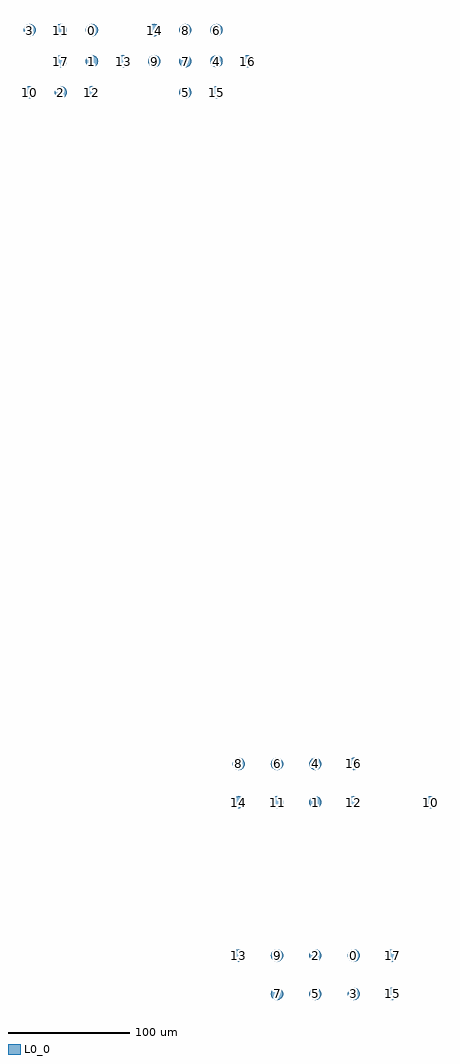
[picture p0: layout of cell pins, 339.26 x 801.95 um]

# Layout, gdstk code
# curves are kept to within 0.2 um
import gdstk
lib = gdstk.Library(unit=1e-6, precision=1e-09)
def P(c, l, *ps):  # polygons
    for p in ps: c.add(gdstk.Polygon(p, *l))
L0_0 = (0, 0)

pins = lib.new_cell('pins')
P(pins, L0_0, [(2419.54,2321.02),(2419.159,2322.933),(2418.075,2324.555),(2416.453,2325.639),(2414.54,2326.02),(2412.626,2325.639),(2411.004,2324.555),(2409.92,2322.933),(2409.54,2321.02),(2409.92,2319.106),(2411.004,2317.484),(2412.626,2316.4),(2414.54,2316.02),(2416.453,2316.4),(2418.075,2317.484),(2419.159,2319.106)],
  [(2634.63,1560.57),(2634.249,1562.483),(2633.165,1564.105),(2631.543,1565.189),(2629.63,1565.57),(2627.716,1565.189),(2626.094,1564.105),(2625.01,1562.483),(2624.63,1560.57),(2625.01,1558.656),(2626.094,1557.034),(2627.716,1555.95),(2629.63,1555.57),(2631.543,1555.95),(2633.165,1557.034),(2634.249,1558.656)],
  [(2419.54,2295.43),(2419.159,2297.343),(2418.075,2298.965),(2416.453,2300.049),(2414.54,2300.43),(2412.626,2300.049),(2411.004,2298.965),(2409.92,2297.343),(2409.54,2295.43),(2409.92,2293.516),(2411.004,2291.894),(2412.626,2290.81),(2414.54,2290.43),(2416.453,2290.81),(2418.075,2291.894),(2419.159,2293.516)],
  [(2603.13,1686.55),(2602.749,1688.463),(2601.665,1690.085),(2600.043,1691.169),(2598.13,1691.55),(2596.216,1691.169),(2594.594,1690.085),(2593.51,1688.463),(2593.13,1686.55),(2593.51,1684.636),(2594.594,1683.014),(2596.216,1681.93),(2598.13,1681.55),(2600.043,1681.93),(2601.665,1683.014),(2602.749,1684.636)],
  [(2393.95,2269.84),(2393.569,2271.753),(2392.485,2273.375),(2390.863,2274.459),(2388.95,2274.84),(2387.036,2274.459),(2385.414,2273.375),(2384.33,2271.753),(2383.95,2269.84),(2384.33,2267.926),(2385.414,2266.304),(2387.036,2265.22),(2388.95,2264.84),(2390.863,2265.22),(2392.485,2266.304),(2393.569,2267.926)],
  [(2603.13,1560.57),(2602.749,1562.483),(2601.665,1564.105),(2600.043,1565.189),(2598.13,1565.57),(2596.216,1565.189),(2594.594,1564.105),(2593.51,1562.483),(2593.13,1560.57),(2593.51,1558.656),(2594.594,1557.034),(2596.216,1555.95),(2598.13,1555.57),(2600.043,1555.95),(2601.665,1557.034),(2602.749,1558.656)],
  [(2368.36,2321.02),(2367.979,2322.933),(2366.895,2324.555),(2365.273,2325.639),(2363.36,2326.02),(2361.446,2325.639),(2359.824,2324.555),(2358.74,2322.933),(2358.36,2321.02),(2358.74,2319.106),(2359.824,2317.484),(2361.446,2316.4),(2363.36,2316.02),(2365.273,2316.4),(2366.895,2317.484),(2367.979,2319.106)],
  [(2634.63,1529.07),(2634.249,1530.983),(2633.165,1532.605),(2631.543,1533.689),(2629.63,1534.07),(2627.716,1533.689),(2626.094,1532.605),(2625.01,1530.983),(2624.63,1529.07),(2625.01,1527.156),(2626.094,1525.534),(2627.716,1524.45),(2629.63,1524.07),(2631.543,1524.45),(2633.165,1525.534),(2634.249,1527.156)],
  [(2521.9,2295.43),(2521.519,2297.343),(2520.435,2298.965),(2518.813,2300.049),(2516.9,2300.43),(2514.986,2300.049),(2513.364,2298.965),(2512.28,2297.343),(2511.9,2295.43),(2512.28,2293.516),(2513.364,2291.894),(2514.986,2290.81),(2516.9,2290.43),(2518.813,2290.81),(2520.435,2291.894),(2521.519,2293.516)],
  [(2603.13,1718.05),(2602.749,1719.963),(2601.665,1721.585),(2600.043,1722.669),(2598.13,1723.05),(2596.216,1722.669),(2594.594,1721.585),(2593.51,1719.963),(2593.13,1718.05),(2593.51,1716.136),(2594.594,1714.514),(2596.216,1713.43),(2598.13,1713.05),(2600.043,1713.43),(2601.665,1714.514),(2602.749,1716.136)],
  [(2496.31,2269.84),(2495.929,2271.753),(2494.845,2273.375),(2493.223,2274.459),(2491.31,2274.84),(2489.396,2274.459),(2487.774,2273.375),(2486.69,2271.753),(2486.31,2269.84),(2486.69,2267.926),(2487.774,2266.304),(2489.396,2265.22),(2491.31,2264.84),(2493.223,2265.22),(2494.845,2266.304),(2495.929,2267.926)],
  [(2603.13,1529.07),(2602.749,1530.983),(2601.665,1532.605),(2600.043,1533.689),(2598.13,1534.07),(2596.216,1533.689),(2594.594,1532.605),(2593.51,1530.983),(2593.13,1529.07),(2593.51,1527.156),(2594.594,1525.534),(2596.216,1524.45),(2598.13,1524.07),(2600.043,1524.45),(2601.665,1525.534),(2602.749,1527.156)],
  [(2521.9,2321.02),(2521.519,2322.933),(2520.435,2324.555),(2518.813,2325.639),(2516.9,2326.02),(2514.986,2325.639),(2513.364,2324.555),(2512.28,2322.933),(2511.9,2321.02),(2512.28,2319.106),(2513.364,2317.484),(2514.986,2316.4),(2516.9,2316.02),(2518.813,2316.4),(2520.435,2317.484),(2521.519,2319.106)],
  [(2571.64,1718.05),(2571.259,1719.963),(2570.175,1721.585),(2568.553,1722.669),(2566.64,1723.05),(2564.726,1722.669),(2563.104,1721.585),(2562.02,1719.963),(2561.64,1718.05),(2562.02,1716.136),(2563.104,1714.514),(2564.726,1713.43),(2566.64,1713.05),(2568.553,1713.43),(2570.175,1714.514),(2571.259,1716.136)],
  [(2496.31,2295.43),(2495.929,2297.343),(2494.845,2298.965),(2493.223,2300.049),(2491.31,2300.43),(2489.396,2300.049),(2487.774,2298.965),(2486.69,2297.343),(2486.31,2295.43),(2486.69,2293.516),(2487.774,2291.894),(2489.396,2290.81),(2491.31,2290.43),(2493.223,2290.81),(2494.845,2291.894),(2495.929,2293.516)],
  [(2571.64,1529.07),(2571.259,1530.983),(2570.175,1532.605),(2568.553,1533.689),(2566.64,1534.07),(2564.726,1533.689),(2563.104,1532.605),(2562.02,1530.983),(2561.64,1529.07),(2562.02,1527.156),(2563.104,1525.534),(2564.726,1524.45),(2566.64,1524.07),(2568.553,1524.45),(2570.175,1525.534),(2571.259,1527.156)],
  [(2496.31,2321.02),(2495.929,2322.933),(2494.845,2324.555),(2493.223,2325.639),(2491.31,2326.02),(2489.396,2325.639),(2487.774,2324.555),(2486.69,2322.933),(2486.31,2321.02),(2486.69,2319.106),(2487.774,2317.484),(2489.396,2316.4),(2491.31,2316.02),(2493.223,2316.4),(2494.845,2317.484),(2495.929,2319.106)],
  [(2540.14,1718.05),(2539.759,1719.963),(2538.675,1721.585),(2537.053,1722.669),(2535.14,1723.05),(2533.226,1722.669),(2531.604,1721.585),(2530.52,1719.963),(2530.14,1718.05),(2530.52,1716.136),(2531.604,1714.514),(2533.226,1713.43),(2535.14,1713.05),(2537.053,1713.43),(2538.675,1714.514),(2539.759,1716.136)],
  [(2470.72,2295.43),(2470.339,2297.343),(2469.255,2298.965),(2467.633,2300.049),(2465.72,2300.43),(2463.806,2300.049),(2462.184,2298.965),(2461.1,2297.343),(2460.72,2295.43),(2461.1,2293.516),(2462.184,2291.894),(2463.806,2290.81),(2465.72,2290.43),(2467.633,2290.81),(2469.255,2291.894),(2470.339,2293.516)],
  [(2571.64,1560.57),(2571.259,1562.483),(2570.175,1564.105),(2568.553,1565.189),(2566.64,1565.57),(2564.726,1565.189),(2563.104,1564.105),(2562.02,1562.483),(2561.64,1560.57),(2562.02,1558.656),(2563.104,1557.034),(2564.726,1555.95),(2566.64,1555.57),(2568.553,1555.95),(2570.175,1557.034),(2571.259,1558.656)],
  [(2368.36,2269.84),(2367.979,2271.753),(2366.895,2273.375),(2365.273,2274.459),(2363.36,2274.84),(2361.446,2274.459),(2359.824,2273.375),(2358.74,2271.753),(2358.36,2269.84),(2358.74,2267.926),(2359.824,2266.304),(2361.446,2265.22),(2363.36,2264.84),(2365.273,2265.22),(2366.895,2266.304),(2367.979,2267.926)],
  [(2697.62,1686.55),(2697.239,1688.463),(2696.155,1690.085),(2694.533,1691.169),(2692.62,1691.55),(2690.706,1691.169),(2689.084,1690.085),(2688,1688.463),(2687.62,1686.55),(2688,1684.636),(2689.084,1683.014),(2690.706,1681.93),(2692.62,1681.55),(2694.533,1681.93),(2696.155,1683.014),(2697.239,1684.636)],
  [(2393.95,2321.02),(2393.569,2322.933),(2392.485,2324.555),(2390.863,2325.639),(2388.95,2326.02),(2387.036,2325.639),(2385.414,2324.555),(2384.33,2322.933),(2383.95,2321.02),(2384.33,2319.106),(2385.414,2317.484),(2387.036,2316.4),(2388.95,2316.02),(2390.863,2316.4),(2392.485,2317.484),(2393.569,2319.106)],
  [(2571.64,1686.55),(2571.259,1688.463),(2570.175,1690.085),(2568.553,1691.169),(2566.64,1691.55),(2564.726,1691.169),(2563.104,1690.085),(2562.02,1688.463),(2561.64,1686.55),(2562.02,1684.636),(2563.104,1683.014),(2564.726,1681.93),(2566.64,1681.55),(2568.553,1681.93),(2570.175,1683.014),(2571.259,1684.636)],
  [(2419.54,2269.84),(2419.159,2271.753),(2418.075,2273.375),(2416.453,2274.459),(2414.54,2274.84),(2412.626,2274.459),(2411.004,2273.375),(2409.92,2271.753),(2409.54,2269.84),(2409.92,2267.926),(2411.004,2266.304),(2412.626,2265.22),(2414.54,2264.84),(2416.453,2265.22),(2418.075,2266.304),(2419.159,2267.926)],
  [(2634.63,1686.55),(2634.249,1688.463),(2633.165,1690.085),(2631.543,1691.169),(2629.63,1691.55),(2627.716,1691.169),(2626.094,1690.085),(2625.01,1688.463),(2624.63,1686.55),(2625.01,1684.636),(2626.094,1683.014),(2627.716,1681.93),(2629.63,1681.55),(2631.543,1681.93),(2633.165,1683.014),(2634.249,1684.636)],
  [(2445.13,2295.43),(2444.749,2297.343),(2443.665,2298.965),(2442.043,2300.049),(2440.13,2300.43),(2438.216,2300.049),(2436.594,2298.965),(2435.51,2297.343),(2435.13,2295.43),(2435.51,2293.516),(2436.594,2291.894),(2438.216,2290.81),(2440.13,2290.43),(2442.043,2290.81),(2443.665,2291.894),(2444.749,2293.516)],
  [(2540.14,1560.57),(2539.759,1562.483),(2538.675,1564.105),(2537.053,1565.189),(2535.14,1565.57),(2533.226,1565.189),(2531.604,1564.105),(2530.52,1562.483),(2530.14,1560.57),(2530.52,1558.656),(2531.604,1557.034),(2533.226,1555.95),(2535.14,1555.57),(2537.053,1555.95),(2538.675,1557.034),(2539.759,1558.656)],
  [(2470.72,2321.02),(2470.339,2322.933),(2469.255,2324.555),(2467.633,2325.639),(2465.72,2326.02),(2463.806,2325.639),(2462.184,2324.555),(2461.1,2322.933),(2460.72,2321.02),(2461.1,2319.106),(2462.184,2317.484),(2463.806,2316.4),(2465.72,2316.02),(2467.633,2316.4),(2469.255,2317.484),(2470.339,2319.106)],
  [(2540.14,1686.55),(2539.759,1688.463),(2538.675,1690.085),(2537.053,1691.169),(2535.14,1691.55),(2533.226,1691.169),(2531.604,1690.085),(2530.52,1688.463),(2530.14,1686.55),(2530.52,1684.636),(2531.604,1683.014),(2533.226,1681.93),(2535.14,1681.55),(2537.053,1681.93),(2538.675,1683.014),(2539.759,1684.636)],
  [(2521.9,2269.84),(2521.519,2271.753),(2520.435,2273.375),(2518.813,2274.459),(2516.9,2274.84),(2514.986,2274.459),(2513.364,2273.375),(2512.28,2271.753),(2511.9,2269.84),(2512.28,2267.926),(2513.364,2266.304),(2514.986,2265.22),(2516.9,2264.84),(2518.813,2265.22),(2520.435,2266.304),(2521.519,2267.926)],
  [(2666.12,1529.07),(2665.739,1530.983),(2664.655,1532.605),(2663.033,1533.689),(2661.12,1534.07),(2659.206,1533.689),(2657.584,1532.605),(2656.5,1530.983),(2656.12,1529.07),(2656.5,1527.156),(2657.584,1525.534),(2659.206,1524.45),(2661.12,1524.07),(2663.033,1524.45),(2664.655,1525.534),(2665.739,1527.156)],
  [(2547.49,2295.43),(2547.109,2297.343),(2546.025,2298.965),(2544.403,2300.049),(2542.49,2300.43),(2540.576,2300.049),(2538.954,2298.965),(2537.87,2297.343),(2537.49,2295.43),(2537.87,2293.516),(2538.954,2291.894),(2540.576,2290.81),(2542.49,2290.43),(2544.403,2290.81),(2546.025,2291.894),(2547.109,2293.516)],
  [(2634.63,1718.05),(2634.249,1719.963),(2633.165,1721.585),(2631.543,1722.669),(2629.63,1723.05),(2627.716,1722.669),(2626.094,1721.585),(2625.01,1719.963),(2624.63,1718.05),(2625.01,1716.136),(2626.094,1714.514),(2627.716,1713.43),(2629.63,1713.05),(2631.543,1713.43),(2633.165,1714.514),(2634.249,1716.136)],
  [(2393.95,2295.43),(2393.569,2297.343),(2392.485,2298.965),(2390.863,2300.049),(2388.95,2300.43),(2387.036,2300.049),(2385.414,2298.965),(2384.33,2297.343),(2383.95,2295.43),(2384.33,2293.516),(2385.414,2291.894),(2387.036,2290.81),(2388.95,2290.43),(2390.863,2290.81),(2392.485,2291.894),(2393.569,2293.516)],
  [(2666.12,1560.57),(2665.739,1562.483),(2664.655,1564.105),(2663.033,1565.189),(2661.12,1565.57),(2659.206,1565.189),(2657.584,1564.105),(2656.5,1562.483),(2656.12,1560.57),(2656.5,1558.656),(2657.584,1557.034),(2659.206,1555.95),(2661.12,1555.57),(2663.033,1555.95),(2664.655,1557.034),(2665.739,1558.656)])
pins.add(gdstk.Label('0', (2414.54,2321.02), layer=255, texttype=0))
pins.add(gdstk.Label('0', (2629.63,1560.57), layer=255, texttype=0))
pins.add(gdstk.Label('1', (2414.54,2295.43), layer=255, texttype=1))
pins.add(gdstk.Label('1', (2598.13,1686.55), layer=255, texttype=1))
pins.add(gdstk.Label('2', (2388.95,2269.84), layer=255, texttype=2))
pins.add(gdstk.Label('2', (2598.13,1560.57), layer=255, texttype=2))
pins.add(gdstk.Label('3', (2363.36,2321.02), layer=255, texttype=3))
pins.add(gdstk.Label('3', (2629.63,1529.07), layer=255, texttype=3))
pins.add(gdstk.Label('4', (2516.9,2295.43), layer=255, texttype=4))
pins.add(gdstk.Label('4', (2598.13,1718.05), layer=255, texttype=4))
pins.add(gdstk.Label('5', (2491.31,2269.84), layer=255, texttype=5))
pins.add(gdstk.Label('5', (2598.13,1529.07), layer=255, texttype=5))
pins.add(gdstk.Label('6', (2516.9,2321.02), layer=255, texttype=6))
pins.add(gdstk.Label('6', (2566.64,1718.05), layer=255, texttype=6))
pins.add(gdstk.Label('7', (2491.31,2295.43), layer=255, texttype=7))
pins.add(gdstk.Label('7', (2566.64,1529.07), layer=255, texttype=7))
pins.add(gdstk.Label('8', (2491.31,2321.02), layer=255, texttype=8))
pins.add(gdstk.Label('8', (2535.14,1718.05), layer=255, texttype=8))
pins.add(gdstk.Label('9', (2465.72,2295.43), layer=255, texttype=9))
pins.add(gdstk.Label('9', (2566.64,1560.57), layer=255, texttype=9))
pins.add(gdstk.Label('10', (2363.36,2269.84), layer=255, texttype=10))
pins.add(gdstk.Label('10', (2692.62,1686.55), layer=255, texttype=10))
pins.add(gdstk.Label('11', (2388.95,2321.02), layer=255, texttype=11))
pins.add(gdstk.Label('11', (2566.64,1686.55), layer=255, texttype=11))
pins.add(gdstk.Label('12', (2414.54,2269.84), layer=255, texttype=12))
pins.add(gdstk.Label('12', (2629.63,1686.55), layer=255, texttype=12))
pins.add(gdstk.Label('13', (2440.13,2295.43), layer=255, texttype=13))
pins.add(gdstk.Label('13', (2535.14,1560.57), layer=255, texttype=13))
pins.add(gdstk.Label('14', (2465.72,2321.02), layer=255, texttype=14))
pins.add(gdstk.Label('14', (2535.14,1686.55), layer=255, texttype=14))
pins.add(gdstk.Label('15', (2516.9,2269.84), layer=255, texttype=15))
pins.add(gdstk.Label('15', (2661.12,1529.07), layer=255, texttype=15))
pins.add(gdstk.Label('16', (2542.49,2295.43), layer=255, texttype=16))
pins.add(gdstk.Label('16', (2629.63,1718.05), layer=255, texttype=16))
pins.add(gdstk.Label('17', (2388.95,2295.43), layer=255, texttype=17))
pins.add(gdstk.Label('17', (2661.12,1560.57), layer=255, texttype=17))

lib.write_gds('pins.gds')
